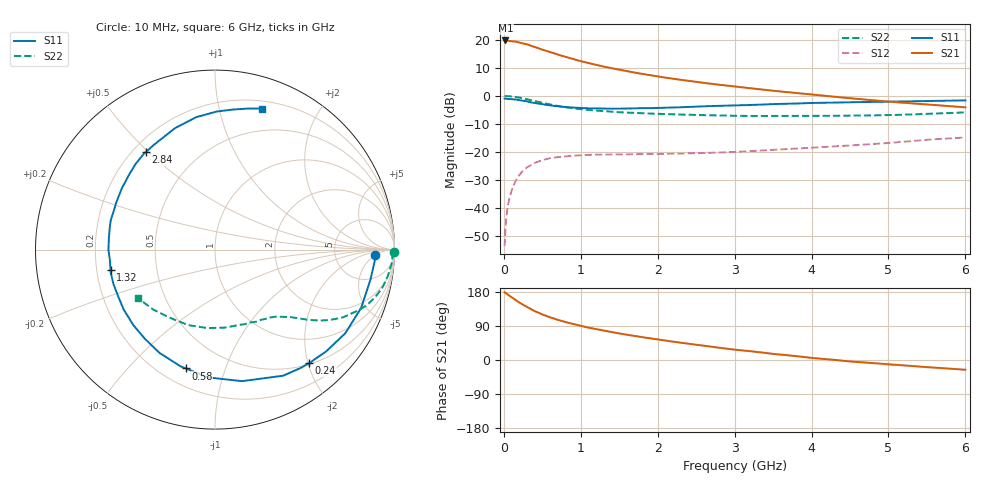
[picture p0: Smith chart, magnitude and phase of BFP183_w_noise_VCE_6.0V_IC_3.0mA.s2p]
! Infineon Technologies  Discrete & RF Semiconductors
! BFP183
! VCE = 6.0 V,  IC =  3.0 mA
! Common Emitter S-Parameters:  Jan 2016
# GHz  S  MA  R  50
!  f  S11  S21  S12  S22
! GHz  MAG  ANG  MAG  ANG  MAG  ANG  MAG  ANG
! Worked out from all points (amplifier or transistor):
!   210 points, 10 MHz to 6 GHz, reference 50 ohm
!   highest |S21| = 19.7 dB at 20 MHz (marker M1)
!   |S21| within 3 dB of that: start of sweep to 471.3 MHz
!   unconditionally stable (mu >= 1): 1.921 GHz to 5.756 GHz
!   at 185 MHz: K = 0.12, MSG = 24.0 dB, |S12| = -28.9 dB
!   at 1.52 GHz: K = 0.82, MSG = 15.0 dB, |S12| = -20.9 dB
!   at 6 GHz: K = 0.94, MSG = 5.4 dB, |S12| = -14.8 dB
!   lowest NFmin = 1.10 dB at 450 MHz
!   S11 on the Smith chart (normalised r, x): 10 MHz: 16, -5; 240 MHz: 0.52, -2.02; 580 MHz: 0.30, -0.74; 1.32 GHz: 0.26, -0.09; 2.84 GHz: 0.25, +0.49; 6 GHz: 0.27, +1.36
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0.01  0.8942 -2.1  9.616 178.6  0.0021 83.3  0.9967 -0.9
0.02  0.8912 -4.5  9.682 177.6  0.0041 89.0  0.9899 -1.8
0.04  0.8839 -8.8  9.641 174.3  0.0084 87.2  0.9884 -3.5
0.06  0.8786 -13.1  9.568 171.3  0.0125 83.6  0.9849 -5.2
0.15  0.8628 -32.7  9.263 158.5  0.0299 71.8  0.9563 -12.8
0.2  0.8397 -42.5  8.935 151.9  0.0385 67.1  0.9312 -16.5
0.24  0.8218 -50.3  8.61 146.9  0.0449 63.0  0.9078 -19.3
0.3  0.7987 -61.6  8.261 140.1  0.053 57.6  0.8688 -22.9
0.4  0.7484 -78.3  7.438 129.1  0.0636 49.8  0.8068 -27.9
0.5  0.7131 -93.2  6.644 120.2  0.0718 43.3  0.751 -31.5
0.58  0.6817 -103.8  6.164 114.2  0.0763 39.2  0.7119 -33.7
0.7  0.6533 -118.3  5.425 106.0  0.0809 34.4  0.659 -36.5
0.8  0.6318 -128.3  4.972 100.0  0.0834 31.0  0.6268 -38.2
1.02  0.6061 -148.1  4.073 89.1  0.0876 25.7  0.5746 -41.1
1.32  0.5931 -169.0  3.266 76.8  0.0902 21.6  0.5308 -44.8
1.6  0.5943 174.7  2.754 66.7  0.0909 19.9  0.5025 -48.1
2.02  0.6094 154.6  2.188 53.7  0.0928 19.3  0.4776 -53.9
2.84  0.6666 125.3  1.552 31.3  0.0982 21.9  0.4469 -68.5
3.1  0.6798 118.0  1.415 25.4  0.1017 23.2  0.4392 -74.0
4.1  0.7488 96.2  1.024 3.9  0.1213 25.4  0.4386 -98.4
5.1  0.7904 81.4  0.769 -12.8  0.1483 25.5  0.4571 -125.2
6  0.8292 71.4  0.623 -25.8  0.1814 19.9  0.5078 -147.9
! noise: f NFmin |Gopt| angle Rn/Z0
0.45  1.1  0.37  35  0.3
0.9  1.15  0.34  85  0.23
1.8  1.9  0.35  160  0.13
